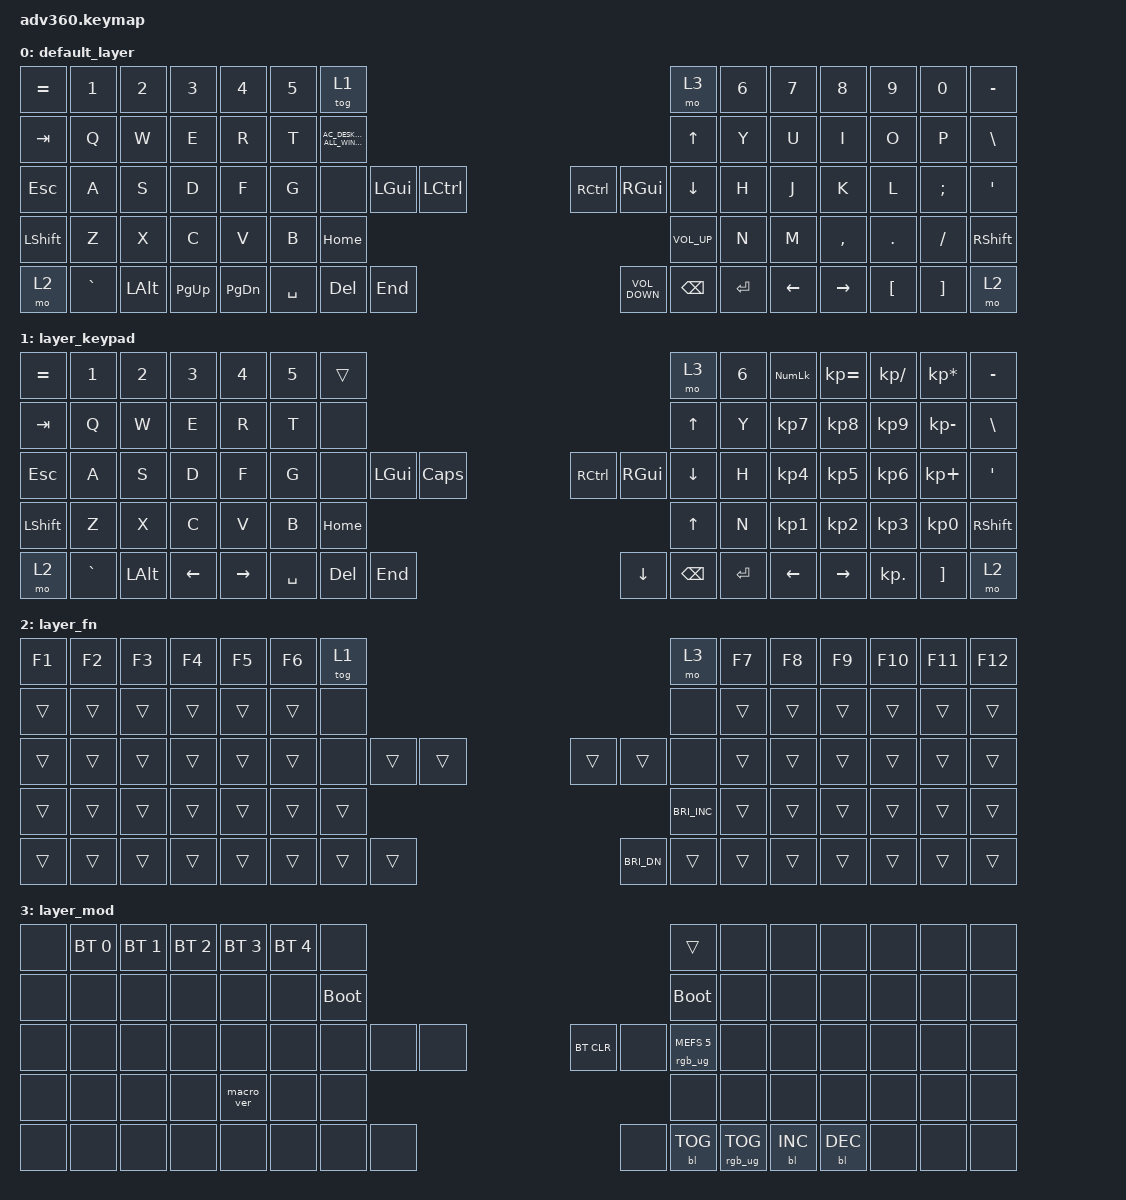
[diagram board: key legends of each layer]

/*
 * Copyright (c) 2020 The ZMK Contributors
 *
 * SPDX-License-Identifier: MIT
 */


/* THIS FILE WAS GENERATED!
 *
 * This file was generated automatically. You may or may not want to
 * edit it directly.
 */

#include <behaviors.dtsi>
#include <dt-bindings/zmk/keys.h>
#include <dt-bindings/zmk/bt.h>
#include <dt-bindings/zmk/rgb.h>
#include <dt-bindings/zmk/backlight.h>

/ {
  behaviors {
    #include "macros.dtsi"
    #include "version.dtsi"

    hm: homerow_mods {
        compatible = "zmk,behavior-hold-tap";
        label = "HOMEROW_MODS";
        #binding-cells = <2>;
        tapping-term-ms = <200>;
        quick_tap_ms = <175>;
        flavor = "tap-preferred";
        bindings = <&kp>, <&kp>;
    };
  };

    keymap {
        compatible = "zmk,keymap";


        default_layer {
            bindings = <
 &kp EQUAL     &kp N1    &kp N2     &kp N3         &kp N4  &kp N5                                       &tog 1                                                                             &mo 3  &kp N6    &kp N7     &kp N8    &kp N9    &kp N0  &kp MINUS
   &kp TAB      &kp Q     &kp W      &kp E          &kp R   &kp T            &kp C_AC_DESKTOP_SHOW_ALL_WINDOWS                                                                      &kp UP_ARROW   &kp Y     &kp U      &kp I     &kp O     &kp P   &kp BSLH
   &kp ESC      &kp A     &kp S      &kp D          &kp F   &kp G                                        &none  &kp LGUI  &kp LCTRL                  &kp RIGHT_CONTROL  &kp RGUI  &kp DOWN_ARROW   &kp H     &kp J      &kp K     &kp L  &kp SEMI    &kp SQT
 &kp LSHFT      &kp Z     &kp X      &kp C          &kp V   &kp B                                                          &kp HOME                       &kp C_VOL_UP                             &kp N     &kp M  &kp COMMA   &kp DOT  &kp FSLH  &kp RSHFT
     &mo 2  &kp GRAVE  &kp LALT  &kp PG_UP  &kp PAGE_DOWN                                            &kp SPACE   &kp DEL    &kp END                  &kp C_VOLUME_DOWN  &kp BSPC       &kp ENTER          &kp LEFT  &kp RIGHT  &kp LBKT  &kp RBKT      &mo 2
            >;
        };

        layer_keypad {
            bindings = <
 &kp EQUAL     &kp N1    &kp N2    &kp N3     &kp N4  &kp N5               &trans                                                                    &mo 3  &kp N6  &kp KP_NUM  &kp KP_EQUAL  &kp KP_DIVIDE  &kp KP_MULTIPLY  &kp MINUS
   &kp TAB      &kp Q     &kp W     &kp E      &kp R   &kp T                &none                                                                   &kp UP   &kp Y   &kp KP_N7     &kp KP_N8      &kp KP_N9     &kp KP_MINUS   &kp BSLH
   &kp ESC      &kp A     &kp S     &kp D      &kp F   &kp G                &none  &kp LGUI  &kp CAPS                       &kp RCTRL  &kp RGUI   &kp DOWN   &kp H   &kp KP_N4     &kp KP_N5      &kp KP_N6      &kp KP_PLUS    &kp SQT
 &kp LSHFT      &kp Z     &kp X     &kp C      &kp V   &kp B                                 &kp HOME                    &kp UP_ARROW                        &kp N   &kp KP_N1     &kp KP_N2      &kp KP_N3        &kp KP_N0  &kp RSHFT
     &mo 2  &kp GRAVE  &kp LALT  &kp LEFT  &kp RIGHT                    &kp SPACE   &kp DEL   &kp END                  &kp DOWN_ARROW  &kp BSPC  &kp ENTER            &kp LEFT     &kp RIGHT     &kp KP_DOT         &kp RBKT      &mo 2
            >;
        };

        layer_fn {
            bindings = <
 &kp F1  &kp F2  &kp F3  &kp F4  &kp F5  &kp F6            &tog 1                                                                 &mo 3  &kp F7  &kp F8  &kp F9  &kp F10  &kp F11  &kp F12
 &trans  &trans  &trans  &trans  &trans  &trans             &none                                                                 &none  &trans  &trans  &trans   &trans   &trans   &trans
 &trans  &trans  &trans  &trans  &trans  &trans             &none  &trans  &trans                                &trans  &trans   &none  &trans  &trans  &trans   &trans   &trans   &trans
 &trans  &trans  &trans  &trans  &trans  &trans                            &trans                  &kp C_BRIGHTNESS_INC                  &trans  &trans  &trans   &trans   &trans   &trans
 &trans  &trans  &trans  &trans  &trans                    &trans  &trans  &trans                          &kp C_BRI_DN  &trans  &trans          &trans  &trans   &trans   &trans   &trans
            >;
        };

        layer_mod {
            bindings = <
  &none  &bt BT_SEL 0  &bt BT_SEL 1  &bt BT_SEL 2  &bt BT_SEL 3  &bt BT_SEL 4                  &none                                                                          &trans   &none       &none       &none   &none   &none   &none
  &none         &none         &none         &none         &none         &none            &bootloader                                                                     &bootloader   &none       &none       &none   &none   &none   &none
  &none         &none         &none         &none         &none         &none                  &none   &none   &none                  &bt BT_CLR       &none  &rgb_ug RGB_MEFS_CMD 5   &none       &none       &none   &none   &none   &none
  &none         &none         &none         &none    &macro_ver         &none                                  &none                       &none                                       &none       &none       &none   &none   &none   &none
  &none         &none         &none         &none         &none                                &none   &none   &none                       &none  &bl BL_TOG         &rgb_ug RGB_TOG          &bl BL_INC  &bl BL_DEC   &none   &none   &none
            >;
        };

    };
};
